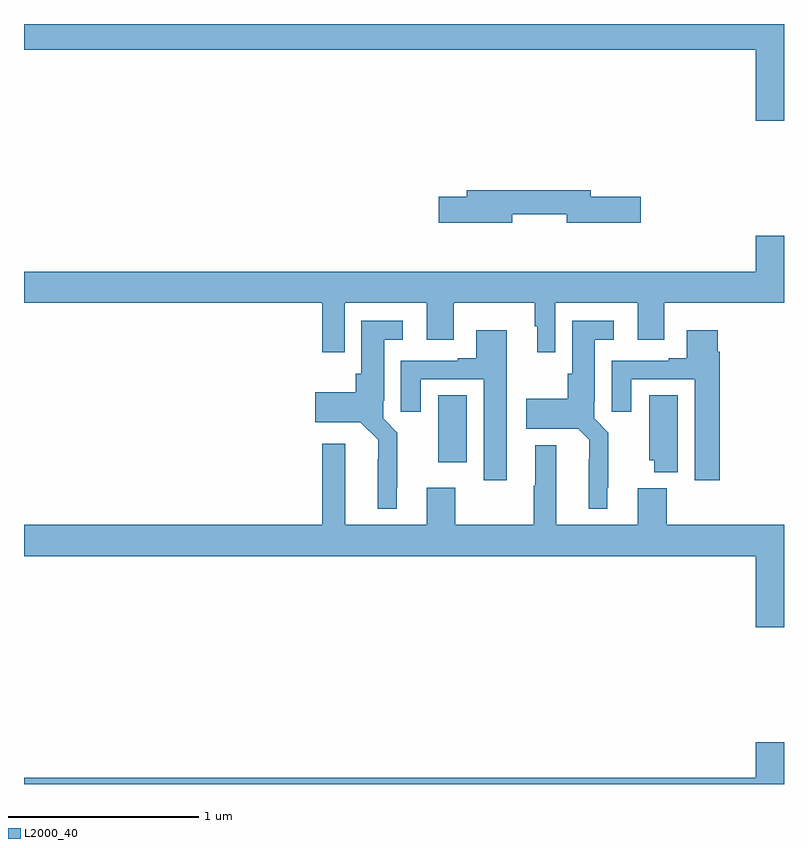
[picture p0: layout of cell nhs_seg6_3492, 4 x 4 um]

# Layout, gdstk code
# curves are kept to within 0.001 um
import gdstk
lib = gdstk.Library(unit=1e-6, precision=1e-09)
def R(c, l, rs):  # rectangles x0, y0, x1, y1
    for r in rs: c.add(gdstk.rectangle(r[:2], r[2:], *l))
def P(c, l, *ps):  # polygons
    for p in ps: c.add(gdstk.Polygon(p, *l))
L2000_40 = (2000, 40)

nhs_seg6_3492 = lib.new_cell('nhs_seg6_3492')
R(nhs_seg6_3492, L2000_40, [(319.181,917.193,319.33,917.546)])
P(nhs_seg6_3492, L2000_40, [(321,919.5),(317,919.5),(317,919.364),(320.852,919.364),(320.852,918.99),(321,918.99)],
  [(319.57,918.498),(319.856,918.498),(319.856,918.455),(320.245,918.455),(320.245,918.59),(319.984,918.59),(319.984,918.626),(319.331,918.626),(319.331,918.59),(319.182,918.59),(319.182,918.455),(319.57,918.455)],
  [(318.687,918.032),(319.121,918.032),(319.121,917.838),(319.261,917.838),(319.261,918.032),(319.689,918.032),(319.689,917.91),(319.7,917.91),(319.7,917.772),(319.797,917.772),(319.797,918.032),(320.231,918.032),(320.231,917.838),(320.371,917.838),(320.371,918.032),(321,918.032),(321,918.385),(320.852,918.385),(320.852,918.196),(317,918.196),(317,918.032),(318.571,918.032),(318.571,917.772),(318.687,917.772)],
  [(320.071,917.059),(320.075,917.059),(320.075,917.35),(320.001,917.424),(320.001,917.518),(320.005,917.518),(320.005,917.837),(320.104,917.837),(320.104,917.938),(319.886,917.938),(319.886,917.658),(319.861,917.658),(319.861,917.527),(319.644,917.527),(319.644,917.369),(319.917,917.369),(319.974,917.312),(319.973,916.949),(320.071,916.949)],
  [(318.961,917.059),(318.965,917.059),(318.965,917.35),(318.891,917.424),(318.891,917.518),(318.895,917.518),(318.895,917.837),(318.994,917.837),(318.994,917.938),(318.776,917.938),(318.776,917.658),(318.746,917.658),(318.746,917.563),(318.534,917.563),(318.534,917.405),(318.771,917.405),(318.864,917.312),(318.863,916.949),(318.961,916.949)],
  [(320.663,917.774),(320.65,917.774),(320.65,917.887),(320.489,917.887),(320.489,917.74),(320.393,917.74),(320.393,917.727),(320.093,917.727),(320.093,917.46),(320.197,917.46),(320.197,917.631),(320.531,917.631),(320.531,917.1),(320.663,917.1)],
  [(319.54,917.887),(319.379,917.887),(319.379,917.74),(319.283,917.74),(319.283,917.727),(318.983,917.727),(318.983,917.46),(319.087,917.46),(319.087,917.631),(319.421,917.631),(319.421,917.1),(319.54,917.1)],
  [(320.44,917.546),(320.291,917.546),(320.291,917.205),(320.318,917.205),(320.318,917.141),(320.44,917.141)],
  [(321,916.864),(320.384,916.864),(320.384,917.056),(320.231,917.056),(320.231,916.864),(319.801,916.864),(319.801,917.284),(319.691,917.284),(319.691,917.069),(319.684,917.069),(319.684,916.864),(319.269,916.864),(319.269,917.059),(319.121,917.059),(319.121,916.864),(318.691,916.864),(318.691,917.29),(318.569,917.29),(318.569,916.864),(317,916.864),(317,916.7),(320.852,916.7),(320.852,916.326),(321,916.326)],
  [(321,915.721),(320.852,915.721),(320.852,915.532),(317,915.532),(317,915.5),(321,915.5)])

lib.write_gds('nhs_seg6_3492.gds')
